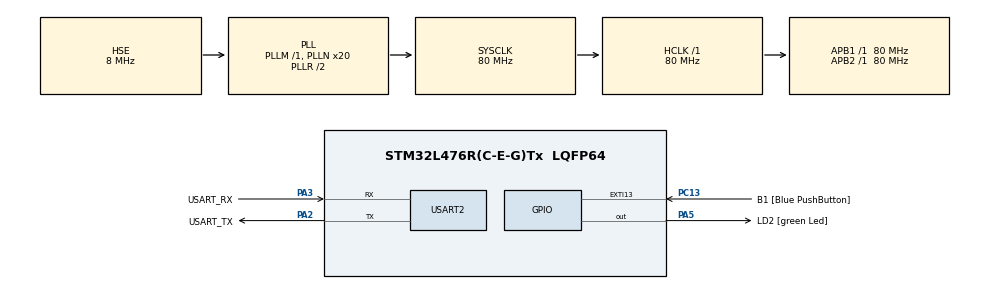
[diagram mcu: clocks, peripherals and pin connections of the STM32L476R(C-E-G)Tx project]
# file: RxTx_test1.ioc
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Mcu.Family=STM32L4
Mcu.Name=STM32L476R(C-E-G)Tx
Mcu.Package=LQFP64
NVIC.PriorityGroup=NVIC_PRIORITYGROUP_4
NVIC.USART2_IRQn=true\:0\:0\:false\:false\:true\:true\:true
PA13\ (JTMS-SWDIO).GPIO_Label=TMS
PA13\ (JTMS-SWDIO).Mode=Serial_Wire
PA13\ (JTMS-SWDIO).Signal=SYS_JTMS-SWDIO
PA14\ (JTCK-SWCLK).GPIO_Label=TCK
PA14\ (JTCK-SWCLK).Mode=Serial_Wire
PA14\ (JTCK-SWCLK).Signal=SYS_JTCK-SWCLK
PA2.GPIO_Label=USART_TX
PA2.GPIO_Mode=GPIO_MODE_AF_PP
PA2.GPIO_PuPd=GPIO_NOPULL
PA2.GPIO_Speed=GPIO_SPEED_FREQ_VERY_HIGH
PA2.Mode=Asynchronous
PA2.Signal=USART2_TX
PA3.GPIO_Label=USART_RX
PA3.GPIO_Mode=GPIO_MODE_AF_PP
PA3.GPIO_PuPd=GPIO_NOPULL
PA3.GPIO_Speed=GPIO_SPEED_FREQ_VERY_HIGH
PA3.Mode=Asynchronous
PA3.Signal=USART2_RX
PA5.GPIO_Label=LD2 [green Led]
PA5.GPIO_ModeDefaultOutputPP=GPIO_MODE_OUTPUT_PP
PA5.GPIO_PuPd=GPIO_NOPULL
PA5.GPIO_Speed=GPIO_SPEED_FREQ_LOW
PA5.Signal=GPIO_Output
PB3\ (JTDO-TRACESWO).GPIO_Label=SWO
PB3\ (JTDO-TRACESWO).Signal=SYS_JTDO-SWO
PC13.GPIO_Label=B1 [Blue PushButton]
PC13.GPIO_ModeDefaultEXTI=GPIO_MODE_IT_FALLING
PC13.GPIO_PuPd=GPIO_NOPULL
PC13.Signal=GPXTI13
PC14-OSC32_IN\ (PC14).Signal=RCC_OSC32_IN
PC15-OSC32_OUT\ (PC15).Signal=RCC_OSC32_OUT
PH0-OSC_IN\ (PH0).Mode=HSE-External-Oscillator
PH0-OSC_IN\ (PH0).Signal=RCC_OSC_IN
PH1-OSC_OUT\ (PH1).Mode=HSE-External-Oscillator
PH1-OSC_OUT\ (PH1).Signal=RCC_OSC_OUT
ProjectManager.HeapSize=0x200
ProjectManager.StackSize=0x400
ProjectManager.TargetToolchain=MDK-ARM V5.27
RCC.ADCFreq_Value=32000000
RCC.AHBFreq_Value=80000000
RCC.APB1Freq_Value=80000000
RCC.APB1TimFreq_Value=80000000
RCC.APB2Freq_Value=80000000
RCC.APB2TimFreq_Value=80000000
RCC.CortexFreq_Value=80000000
RCC.HCLKFreq_Value=80000000
RCC.HSE_VALUE=8000000
RCC.HSI_VALUE=16000000
RCC.MSI_VALUE=4000000
RCC.PLLN=20
RCC.PLLSourceVirtual=RCC_PLLSOURCE_HSE
RCC.PREFETCH_ENABLE=1
RCC.SYSCLKFreq_VALUE=80000000
RCC.SYSCLKSource=RCC_SYSCLKSOURCE_PLLCLK
RCC.USBFreq_Value=32000000
RCC.VCOOutputFreq_Value=160000000
USART2.VirtualMode-Asynchronous=VM_ASYNC
board=NUCLEO-L476RG

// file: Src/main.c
/* USER CODE BEGIN Header */
/**
  ******************************************************************************
  * @file           : main.c
  * @brief          : Main program body
  ******************************************************************************
  * @attention
  *
  * <h2><center>&copy; Copyright (c) 2020 STMicroelectronics.
  * All rights reserved.</center></h2>
  *
  * This software component is licensed by ST under BSD 3-Clause license,
  * the "License"; You may not use this file except in compliance with the
  * License. You may obtain a copy of the License at:
  *                        opensource.org/licenses/BSD-3-Clause
  *
  ******************************************************************************
  */
/* USER CODE END Header */

#include "main.h"
#include "usart.h"
#include "gpio.h"

/* USER CODE BEGIN Includes */
#include <stdio.h>
#define UART2_IRQ 1
/* USER CODE END Includes */

/* USER CODE BEGIN PV */
// uint8_t  data = 0;
uint8_t Tdata[4] = {0};
/* USER CODE END PV */

void SystemClock_Config(void);

int main(void)
{

  /* MCU Configuration--------------------------------------------------------*/

  /* Reset of all peripherals, Initializes the Flash interface and the Systick. */
  HAL_Init();

  /* Configure the system clock */
  SystemClock_Config();

  /* Initialize all configured peripherals */
  MX_GPIO_Init();
  MX_USART2_UART_Init();
  /* USER CODE BEGIN 2 */
	#ifdef UART2_IRQ
	  // __HAL_UART_CLEAR_FLAG (&huart2, UART_FLAG_RXNE );
	  HAL_UART_Receive_IT(&huart2, Tdata, 4);//开启接收中断

	// HAL_UART_Transmit_IT(&huart2, Tdata, sizeof(Tdata));
	#endif
  /* USER CODE END 2 */

  /* Infinite loop */
  /* USER CODE BEGIN WHILE */
  while (1)
  {
    #ifdef UART2_IRQ
		HAL_GPIO_TogglePin(LD2_GPIO_Port, LD2_Pin);
		printf("UART2_IRQ delay test\r\n");
		HAL_Delay(2000);
		#endif

		/* USER CODE END WHILE */

  }
}

void SystemClock_Config(void)
{
  RCC_OscInitTypeDef RCC_OscInitStruct = {0};
  RCC_ClkInitTypeDef RCC_ClkInitStruct = {0};
  RCC_PeriphCLKInitTypeDef PeriphClkInit = {0};

  /** Initializes the CPU, AHB and APB busses clocks
  */
  RCC_OscInitStruct.OscillatorType = RCC_OSCILLATORTYPE_HSE;
  RCC_OscInitStruct.HSEState = RCC_HSE_ON;
  RCC_OscInitStruct.PLL.PLLState = RCC_PLL_ON;
  RCC_OscInitStruct.PLL.PLLSource = RCC_PLLSOURCE_HSE;
  RCC_OscInitStruct.PLL.PLLM = 1;
  RCC_OscInitStruct.PLL.PLLN = 20;
  RCC_OscInitStruct.PLL.PLLP = RCC_PLLP_DIV7;
  RCC_OscInitStruct.PLL.PLLQ = RCC_PLLQ_DIV2;
  RCC_OscInitStruct.PLL.PLLR = RCC_PLLR_DIV2;
  if (HAL_RCC_OscConfig(&RCC_OscInitStruct) != HAL_OK)
  {
    Error_Handler();
  }
  /** Initializes the CPU, AHB and APB busses clocks
  */
  RCC_ClkInitStruct.ClockType = RCC_CLOCKTYPE_HCLK|RCC_CLOCKTYPE_SYSCLK
                              |RCC_CLOCKTYPE_PCLK1|RCC_CLOCKTYPE_PCLK2;
  RCC_ClkInitStruct.SYSCLKSource = RCC_SYSCLKSOURCE_PLLCLK;
  RCC_ClkInitStruct.AHBCLKDivider = RCC_SYSCLK_DIV1;
  RCC_ClkInitStruct.APB1CLKDivider = RCC_HCLK_DIV1;
  RCC_ClkInitStruct.APB2CLKDivider = RCC_HCLK_DIV1;

  if (HAL_RCC_ClockConfig(&RCC_ClkInitStruct, FLASH_LATENCY_4) != HAL_OK)
  {
    Error_Handler();
  }
  PeriphClkInit.PeriphClockSelection = RCC_PERIPHCLK_USART2;
  PeriphClkInit.Usart2ClockSelection = RCC_USART2CLKSOURCE_PCLK1;
  if (HAL_RCCEx_PeriphCLKConfig(&PeriphClkInit) != HAL_OK)
  {
    Error_Handler();
  }
  /** Configure the main internal regulator output voltage
  */
  if (HAL_PWREx_ControlVoltageScaling(PWR_REGULATOR_VOLTAGE_SCALE1) != HAL_OK)
  {
    Error_Handler();
  }
}

/* USER CODE BEGIN 4 */
/*串口接收完，发生中断，进入中断回调函数*/
void HAL_UART_RxCpltCallback(UART_HandleTypeDef *huart)
	{
	 #ifdef UART2_IRQ
		if(huart->Instance ==USART2){
	   HAL_UART_Transmit(&huart2,Tdata,4,0xff);//收到的数据，马上发回串口
	    HAL_UART_Receive_IT(&huart2,Tdata, 4);// 不打开，只能发一次
		// __HAL_UART_CLEAR_FLAG (&huart2, UART_FLAG_RXNE );
		}
	 #endif
 }

int fputc(int ch, FILE *f)
{
      HAL_UART_Transmit(&huart2, (uint8_t *)&ch,1, 0xFFFF);
      return ch;
}
/* USER CODE END 4 */

void Error_Handler(void)
{
}

/************************ (C) COPYRIGHT STMicroelectronics *****END OF FILE****/
